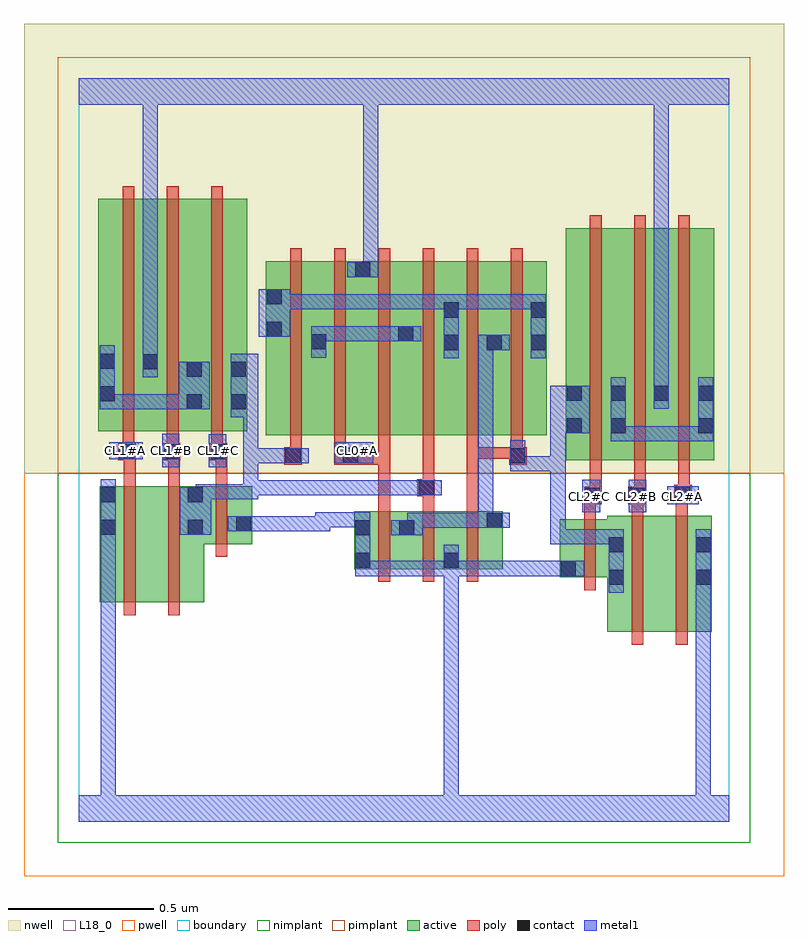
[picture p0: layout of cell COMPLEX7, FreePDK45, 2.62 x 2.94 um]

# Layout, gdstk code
import gdstk
lib = gdstk.Library(unit=1e-6, precision=1e-09)
def R(c, l, rs):  # rectangles x0, y0, x1, y1
    for r in rs: c.add(gdstk.rectangle(r[:2], r[2:], *l))
def A(c, l, x, y, w, h, nx, ny, dx, dy):  # array of equal rectangles
    R(c, l, [(x+i*dx, y+j*dy, x+i*dx+w, y+j*dy+h) for i in range(nx) for j in range(ny)])
active = (1, 0)
pwell = (2, 0)
nwell = (3, 0)
nimplant = (4, 0)
pimplant = (5, 0)
poly = (9, 0)
contact = (10, 0)
metal1 = (11, 0)
L18_0 = (18, 0)
boundary = (235, 0)

complex7 = lib.new_cell('COMPLEX7')
R(complex7, active, [(1.82,0.654,2,1.054), (2,0.654,2.18,1.054), (2.12,0.654,2.18,1.054), (0.072,0.756,0.132,1.156), (0.072,0.756,0.252,1.156), (0.252,0.756,0.432,1.156), (0.372,0.756,0.432,1.156), (1.82,0.806,1.88,0.984), (1.656,0.842,1.88,1.042), (1.656,0.842,1.716,1.042), (0.948,0.87,1.008,1.07), (0.948,0.87,1.16,1.07), (1.1,0.87,1.16,1.07), (1.1,0.87,1.312,1.07), (1.252,0.87,1.46,1.07), (1.252,0.87,1.312,0.93), (1.4,0.87,1.46,1.07), (0.372,0.956,0.598,1.156), (0.538,0.956,0.598,1.156), (1.676,1.244,1.736,2.044), (1.676,1.244,1.888,2.044), (1.828,1.244,2.036,2.044), (1.976,1.244,2.188,2.044), (2.128,1.244,2.188,2.044), (0.644,1.33,0.704,1.93), (0.644,1.33,0.856,1.93), (0.796,1.33,1.008,1.93), (0.796,1.33,0.856,1.844), (0.948,1.33,1.156,1.93), (1.096,1.33,1.156,1.844), (1.096,1.33,1.312,1.93), (1.252,1.33,1.312,1.93), (1.252,1.33,1.46,1.93), (1.4,1.33,1.612,1.93), (1.4,1.33,1.46,1.844), (1.552,1.33,1.612,1.93), (1.828,1.334,1.888,2.044), (1.976,1.334,2.036,2.044), (0.068,1.344,0.128,2.144), (0.068,1.344,0.276,2.144), (0.216,1.344,0.428,2.144), (0.368,1.344,0.58,2.144), (0.52,1.344,0.58,2.144), (0.368,1.41,0.428,2.144), (0.216,1.554,0.276,2.144), (0.948,1.608,1.008,1.93)])
R(complex7, pwell, [(-0.188,-0.188,2.428,1.2)])
R(complex7, nwell, [(-0.188,1.2,2.428,2.748)])
R(complex7, nimplant, [(-0.072,-0.072,2.312,1.2)])
R(complex7, pimplant, [(-0.072,1.2,2.312,2.632)])
A(complex7, poly, 1.032, 0.826, 0.04, 0.288, 3, 1, 0.152, 0)
A(complex7, poly, 1.76, 1.2, 0.04, 0.888, 3, 1, 0.152, 0)
A(complex7, poly, 0.152, 1.264, 0.04, 0.076, 3, 1, 0.152, 0)
A(complex7, poly, 0.728, 1.286, 0.04, 0.688, 6, 1, 0.152, 0)
A(complex7, poly, 0.152, 1.3, 0.04, 0.888, 3, 1, 0.152, 0)
R(complex7, poly, [(1.904,0.61,1.944,1.098), (2.056,0.61,2.096,1.098), (0.156,0.712,0.196,1.2), (0.308,0.712,0.348,1.2), (1.74,0.798,1.78,1.086), (0.472,0.912,0.512,1.2), (1.74,1.046,1.78,1.134), (1.904,1.058,1.944,1.134), (2.056,1.058,2.096,1.14), (1.032,1.074,1.072,1.27), (1.184,1.074,1.224,1.16), (1.336,1.074,1.376,1.29), (1.74,1.094,1.78,1.134), (1.74,1.094,1.78,1.134), (1.74,1.094,1.8,1.154), (1.892,1.094,1.952,1.154), (1.904,1.094,1.944,1.134), (1.904,1.094,1.944,1.134), (2.05,1.1,2.11,1.16), (1.76,1.114,1.8,1.24), (1.912,1.114,1.952,1.24), (1.166,1.12,1.226,1.18), (2.064,1.12,2.104,1.24), (2.064,1.12,2.104,1.16), (2.064,1.12,2.104,1.16), (1.184,1.14,1.224,1.18), (1.184,1.14,1.224,1.18), (1.184,1.14,1.224,1.326), (0.156,1.16,0.196,1.284), (0.308,1.16,0.348,1.284), (0.472,1.16,0.512,1.284), (0.708,1.23,0.768,1.29), (0.88,1.23,0.966,1.29), (0.926,1.23,0.966,1.27), (0.926,1.23,0.966,1.27), (0.926,1.23,1.072,1.27), (1.032,1.23,1.072,1.27), (1.032,1.23,1.072,1.27), (1.032,1.23,1.072,1.27), (1.032,1.23,1.072,1.326), (1.482,1.23,1.542,1.29), (0.136,1.244,0.196,1.304), (0.29,1.244,0.35,1.304), (0.452,1.244,0.512,1.304), (0.472,1.244,0.512,1.284), (0.472,1.244,0.512,1.284), (0.728,1.25,0.768,1.326), (0.88,1.25,0.92,1.326), (1.336,1.25,1.376,1.29), (1.336,1.25,1.376,1.29), (1.336,1.25,1.376,1.29), (1.336,1.25,1.376,1.29), (1.336,1.25,1.376,1.29), (1.336,1.25,1.376,1.326), (1.336,1.25,1.522,1.29), (1.488,1.25,1.528,1.326), (0.152,1.264,0.192,1.304), (0.152,1.264,0.192,1.304), (0.304,1.264,0.344,1.304), (0.304,1.264,0.344,1.304)])
R(complex7, contact, [(1.824,0.816,1.876,0.868), (2.124,0.816,2.176,0.868), (1.66,0.846,1.712,0.898), (0.952,0.874,1.004,0.926), (1.256,0.874,1.308,0.926), (1.824,0.928,1.876,0.98), (2.124,0.928,2.176,0.98), (0.952,0.986,1.004,1.038), (1.104,0.986,1.156,1.038), (0.076,0.988,0.128,1.04), (0.376,0.988,0.428,1.04), (0.542,1,0.594,1.052), (1.404,1.012,1.456,1.064), (1.744,1.098,1.796,1.15), (1.896,1.098,1.948,1.15), (0.076,1.1,0.128,1.152), (0.376,1.1,0.428,1.152), (2.054,1.104,2.106,1.156), (1.17,1.124,1.222,1.176), (0.712,1.234,0.764,1.286), (0.91,1.234,0.962,1.286), (1.486,1.234,1.538,1.286), (0.14,1.248,0.192,1.3), (0.294,1.248,0.346,1.3), (0.456,1.248,0.508,1.3), (1.68,1.338,1.732,1.39), (1.832,1.338,1.884,1.39), (2.132,1.338,2.184,1.39), (0.372,1.42,0.424,1.472), (0.524,1.42,0.576,1.472), (0.072,1.448,0.124,1.5), (1.68,1.45,1.732,1.502), (1.832,1.45,1.884,1.502), (1.98,1.45,2.032,1.502), (2.132,1.45,2.184,1.502), (0.372,1.532,0.424,1.584), (0.524,1.532,0.576,1.584), (0.22,1.558,0.272,1.61), (0.072,1.56,0.124,1.612), (1.256,1.624,1.308,1.676), (1.404,1.624,1.456,1.676), (1.556,1.624,1.608,1.676), (0.8,1.626,0.852,1.678), (1.1,1.654,1.152,1.706), (0.648,1.67,0.7,1.722), (1.256,1.736,1.308,1.788), (1.556,1.736,1.608,1.788), (0.648,1.782,0.7,1.834), (0.952,1.874,1.004,1.926)])
R(complex7, metal1, [(0,0,2.24,0.092), (0.076,0.04,0.128,0.092), (0.076,0.04,0.128,0.092), (0.076,0.04,0.128,0.092), (0.076,0.04,0.128,0.092), (0.076,0.04,0.128,0.092), (0.076,0.04,0.128,0.092), (0.076,0.04,0.128,1.012), (1.256,0.04,1.308,0.092), (1.256,0.04,1.308,0.092), (1.256,0.04,1.308,0.898), (2.124,0.04,2.176,0.84), (1.824,0.788,1.876,1.008), (2.124,0.788,2.176,0.84), (2.124,0.788,2.176,0.84), (2.124,0.788,2.176,0.84), (2.124,0.788,2.176,0.84), (2.124,0.788,2.176,0.84), (2.124,0.788,2.176,0.84), (2.124,0.788,2.176,0.84), (2.124,0.788,2.176,0.84), (2.124,0.788,2.176,0.84), (2.124,0.788,2.176,0.84), (2.124,0.788,2.176,0.84), (2.124,0.788,2.176,0.84), (2.124,0.788,2.176,1.008), (0.952,0.846,1.004,1.066), (0.952,0.846,1.006,0.898), (0.954,0.846,1.006,0.898), (0.954,0.846,1.116,0.898), (1.064,0.846,1.116,0.898), (1.064,0.846,1.308,0.898), (1.256,0.846,1.308,0.898), (1.256,0.846,1.308,0.898), (1.256,0.846,1.308,0.898), (1.256,0.846,1.308,0.898), (1.256,0.846,1.308,0.898), (1.256,0.846,1.308,0.898), (1.256,0.846,1.308,0.898), (1.256,0.846,1.308,0.898), (1.256,0.846,1.308,0.898), (1.256,0.846,1.308,0.898), (1.256,0.846,1.308,0.898), (1.256,0.846,1.308,0.898), (1.256,0.846,1.308,0.898), (1.256,0.846,1.308,0.898), (1.256,0.846,1.308,0.898), (1.256,0.846,1.308,0.898), (1.256,0.846,1.308,0.954), (1.256,0.846,1.428,0.898), (1.376,0.846,1.428,0.898), (1.376,0.846,1.428,0.898), (1.376,0.846,1.428,0.898), (1.376,0.846,1.538,0.898), (1.486,0.846,1.538,0.898), (1.486,0.846,1.538,0.898), (1.486,0.846,1.538,0.898), (1.486,0.846,1.684,0.898), (1.632,0.846,1.74,0.898), (1.624,0.956,1.676,1.008), (1.624,0.956,1.676,1.008), (1.624,0.956,1.676,1.008), (1.624,0.956,1.676,1.008), (1.624,0.956,1.676,1.008), (1.624,0.956,1.876,1.008), (1.624,0.956,1.676,1.258), (0.076,0.96,0.128,1.012), (0.076,0.96,0.128,1.012), (0.076,0.96,0.128,1.012), (0.076,0.96,0.128,1.012), (0.076,0.96,0.128,1.012), (0.076,0.96,0.128,1.012), (0.076,0.96,0.128,1.18), (1.076,0.986,1.184,1.038), (1.132,0.986,1.184,1.038), (1.132,0.986,1.184,1.064), (0.348,0.988,0.456,1.152), (0.514,1,0.622,1.052), (0.57,1,0.622,1.052), (0.57,1,0.622,1.052), (0.57,1,0.732,1.052), (0.68,1,0.732,1.052), (0.68,1,0.866,1.052), (0.814,1,0.866,1.066), (1.132,1.012,1.318,1.064), (1.266,1.012,1.318,1.064), (1.266,1.012,1.428,1.064), (1.376,1.012,1.428,1.064), (1.376,1.012,1.428,1.064), (1.376,1.012,1.484,1.064), (1.376,1.012,1.428,1.676), (0.814,1.014,0.866,1.066), (0.814,1.014,0.866,1.066), (0.814,1.014,1.004,1.066), (0.952,1.014,1.004,1.066), (0.952,1.014,1.004,1.066), (1.734,1.066,1.796,1.178), (1.894,1.066,1.954,1.178), (2.026,1.094,2.134,1.156), (0.404,1.1,0.456,1.162), (0.404,1.11,0.456,1.162), (0.404,1.11,0.456,1.162), (0.404,1.11,0.456,1.162), (0.404,1.11,0.618,1.162), (0.566,1.11,0.618,1.176), (0.566,1.124,0.732,1.176), (0.566,1.124,0.618,1.286), (0.68,1.124,0.732,1.176), (0.68,1.124,0.732,1.176), (0.68,1.124,0.732,1.176), (0.68,1.124,0.842,1.176), (0.79,1.124,0.842,1.176), (0.79,1.124,0.896,1.176), (0.844,1.124,0.896,1.176), (0.844,1.124,1.006,1.176), (0.954,1.124,1.006,1.176), (0.954,1.124,1.006,1.176), (0.954,1.124,1.006,1.176), (0.954,1.124,1.194,1.176), (1.142,1.124,1.194,1.176), (1.142,1.124,1.194,1.176), (1.142,1.124,1.25,1.176), (1.486,1.206,1.538,1.258), (1.486,1.206,1.538,1.258), (1.486,1.206,1.538,1.314), (1.486,1.206,1.676,1.258), (1.624,1.206,1.676,1.258), (1.624,1.206,1.676,1.39), (0.288,1.22,0.346,1.336), (0.448,1.22,0.508,1.334), (0.566,1.234,0.618,1.286), (0.566,1.234,0.618,1.286), (0.566,1.234,0.618,1.286), (0.566,1.234,0.736,1.286), (0.566,1.234,0.618,1.444), (0.684,1.234,0.792,1.286), (0.882,1.234,1.014,1.306), (0.106,1.248,0.22,1.306), (1.832,1.31,1.884,1.362), (1.832,1.31,1.884,1.362), (1.832,1.31,1.884,1.53), (1.832,1.31,1.994,1.362), (1.942,1.31,1.994,1.362), (1.942,1.31,2.184,1.362), (2.132,1.31,2.184,1.362), (2.132,1.31,2.184,1.362), (2.132,1.31,2.184,1.53), (1.624,1.338,1.76,1.502), (0.524,1.392,0.618,1.612), (0.072,1.42,0.124,1.472), (0.072,1.42,0.124,1.472), (0.072,1.42,0.124,1.64), (0.072,1.42,0.286,1.472), (0.234,1.42,0.286,1.472), (0.234,1.42,0.286,1.472), (0.234,1.42,0.286,1.472), (0.234,1.42,0.396,1.472), (0.344,1.42,0.452,1.584), (1.98,1.422,2.032,1.53), (1.98,1.478,2.032,2.52), (0.22,1.53,0.272,1.638), (0.22,1.586,0.272,2.52), (1.256,1.596,1.308,1.816), (1.556,1.596,1.608,1.816), (0.8,1.598,0.852,1.706), (1.376,1.624,1.428,1.676), (1.376,1.624,1.428,1.676), (1.376,1.624,1.428,1.676), (1.376,1.624,1.428,1.676), (1.376,1.624,1.484,1.676), (0.8,1.654,0.852,1.706), (0.8,1.654,0.852,1.706), (0.8,1.654,1.006,1.706), (0.954,1.654,1.006,1.706), (0.954,1.654,1.006,1.706), (0.954,1.654,1.006,1.706), (0.954,1.654,1.124,1.706), (1.072,1.654,1.18,1.706), (0.62,1.67,0.728,1.834), (0.676,1.764,0.732,1.816), (0.68,1.764,0.732,1.816), (0.68,1.764,0.866,1.816), (0.814,1.764,0.866,1.816), (0.814,1.764,0.866,1.816), (0.814,1.764,0.866,1.816), (0.814,1.764,1.006,1.816), (0.954,1.764,1.006,1.816), (0.954,1.764,1.006,1.816), (0.954,1.764,1.006,1.816), (0.954,1.764,1.116,1.816), (1.064,1.764,1.116,1.816), (1.064,1.764,1.308,1.816), (1.256,1.764,1.308,1.816), (1.256,1.764,1.308,1.816), (1.256,1.764,1.428,1.816), (1.376,1.764,1.428,1.816), (1.376,1.764,1.428,1.816), (1.376,1.764,1.428,1.816), (1.376,1.764,1.538,1.816), (1.486,1.764,1.538,1.816), (1.486,1.764,1.608,1.816), (0.924,1.874,1.032,1.926), (0.98,1.874,1.032,1.926), (0.98,1.874,1.032,1.926), (0.98,1.874,1.032,1.926), (0.98,1.874,1.032,1.926), (0.98,1.874,1.032,1.926), (0.98,1.874,1.032,1.926), (0.98,1.874,1.032,1.926), (0.98,1.874,1.032,1.926), (0.98,1.874,1.032,1.926), (0.98,1.874,1.032,1.926), (0.98,1.874,1.032,1.926), (0.98,1.874,1.032,1.926), (0.98,1.874,1.032,2.52), (0,2.468,2.24,2.56), (0.22,2.468,0.272,2.52), (0.22,2.468,0.272,2.52), (0.22,2.468,0.272,2.52), (0.22,2.468,0.272,2.52), (0.22,2.468,0.272,2.52), (0.22,2.468,0.272,2.52), (0.22,2.468,0.272,2.52), (0.22,2.468,0.272,2.52), (1.98,2.468,2.032,2.52), (1.98,2.468,2.032,2.52), (1.98,2.468,2.032,2.52), (1.98,2.468,2.032,2.52), (1.98,2.468,2.032,2.52), (1.98,2.468,2.032,2.52), (1.98,2.468,2.032,2.52), (1.98,2.468,2.032,2.52)])
A(complex7, L18_0, 1.734, 1.094, 0.052, 0.052, 3, 1, 0.16, 0)
A(complex7, L18_0, 0.134, 1.254, 0.052, 0.052, 3, 1, 0.16, 0)
R(complex7, L18_0, [(0,0,2.24,0.092), (0.076,0.04,0.128,0.092), (0.076,0.04,0.128,0.092), (0.076,0.04,0.128,0.092), (0.076,0.04,0.128,0.092), (0.076,0.04,0.128,0.092), (0.076,0.04,0.128,0.092), (0.076,0.04,0.128,1.012), (1.256,0.04,1.308,0.092), (1.256,0.04,1.308,0.092), (1.256,0.04,1.308,0.898), (2.124,0.04,2.176,0.84), (2.124,0.788,2.176,0.84), (2.124,0.788,2.176,0.84), (2.124,0.788,2.176,0.84), (2.124,0.788,2.176,0.84), (2.124,0.788,2.176,0.84), (2.124,0.788,2.176,0.84), (2.124,0.788,2.176,0.84), (2.124,0.788,2.176,0.84), (2.124,0.788,2.176,0.84), (2.124,0.788,2.176,0.84), (2.124,0.788,2.176,0.84), (2.124,0.788,2.176,0.84), (2.124,0.788,2.176,1.008), (0.952,0.846,1.004,1.066), (0.952,0.846,1.006,0.898), (0.954,0.846,1.006,0.898), (0.954,0.846,1.116,0.898), (1.064,0.846,1.116,0.898), (1.064,0.846,1.308,0.898), (1.256,0.846,1.308,0.898), (1.256,0.846,1.308,0.898), (1.256,0.846,1.308,0.898), (1.256,0.846,1.308,0.898), (1.256,0.846,1.308,0.898), (1.256,0.846,1.308,0.898), (1.256,0.846,1.308,0.898), (1.256,0.846,1.308,0.898), (1.256,0.846,1.308,0.898), (1.256,0.846,1.308,0.898), (1.256,0.846,1.308,0.898), (1.256,0.846,1.308,0.898), (1.256,0.846,1.308,0.898), (1.256,0.846,1.308,0.898), (1.256,0.846,1.308,0.898), (1.256,0.846,1.308,0.898), (1.256,0.846,1.308,0.954), (1.256,0.846,1.428,0.898), (1.376,0.846,1.428,0.898), (1.376,0.846,1.428,0.898), (1.376,0.846,1.428,0.898), (1.376,0.846,1.538,0.898), (1.486,0.846,1.538,0.898), (1.486,0.846,1.538,0.898), (1.486,0.846,1.538,0.898), (1.486,0.846,1.684,0.898), (1.632,0.846,1.74,0.898), (0.076,0.96,0.128,1.012), (0.076,0.96,0.128,1.012), (0.076,0.96,0.128,1.012), (0.076,0.96,0.128,1.012), (0.076,0.96,0.128,1.012), (0.076,0.96,0.128,1.012), (0.076,0.96,0.128,1.18), (0.514,1,0.622,1.052), (0.57,1,0.622,1.052), (0.57,1,0.622,1.052), (0.57,1,0.732,1.052), (0.68,1,0.732,1.052), (0.68,1,0.866,1.052), (0.814,1,0.866,1.066), (0.814,1.014,0.866,1.066), (0.814,1.014,0.866,1.066), (0.814,1.014,1.004,1.066), (0.952,1.014,1.004,1.066), (0.952,1.014,1.004,1.066), (1.734,1.066,1.796,1.178), (1.894,1.066,1.954,1.178), (2.026,1.094,2.134,1.156), (0.288,1.22,0.346,1.336), (0.448,1.22,0.508,1.334), (0.882,1.234,1.014,1.306), (0.106,1.248,0.22,1.306), (0.934,1.254,0.986,1.306), (1.98,1.422,2.032,1.53), (1.98,1.478,2.032,2.52), (0.22,1.53,0.272,1.638), (0.22,1.586,0.272,2.52), (0.924,1.874,1.032,1.926), (0.98,1.874,1.032,1.926), (0.98,1.874,1.032,1.926), (0.98,1.874,1.032,1.926), (0.98,1.874,1.032,1.926), (0.98,1.874,1.032,1.926), (0.98,1.874,1.032,1.926), (0.98,1.874,1.032,1.926), (0.98,1.874,1.032,1.926), (0.98,1.874,1.032,1.926), (0.98,1.874,1.032,1.926), (0.98,1.874,1.032,1.926), (0.98,1.874,1.032,1.926), (0.98,1.874,1.032,2.52), (0,2.468,2.24,2.56), (0.22,2.468,0.272,2.52), (0.22,2.468,0.272,2.52), (0.22,2.468,0.272,2.52), (0.22,2.468,0.272,2.52), (0.22,2.468,0.272,2.52), (0.22,2.468,0.272,2.52), (0.22,2.468,0.272,2.52), (0.22,2.468,0.272,2.52), (1.98,2.468,2.032,2.52), (1.98,2.468,2.032,2.52), (1.98,2.468,2.032,2.52), (1.98,2.468,2.032,2.52), (1.98,2.468,2.032,2.52), (1.98,2.468,2.032,2.52), (1.98,2.468,2.032,2.52), (1.98,2.468,2.032,2.52)])
R(complex7, boundary, [(0,0,2.24,2.56)])
complex7.add(gdstk.Label('CL0#A', (0.96,1.28), layer=11, texttype=0))
complex7.add(gdstk.Label('CL1#A', (0.16,1.28), layer=11, texttype=0))
complex7.add(gdstk.Label('CL1#B', (0.32,1.28), layer=11, texttype=0))
complex7.add(gdstk.Label('CL1#C', (0.48,1.28), layer=11, texttype=0))
complex7.add(gdstk.Label('CL2#A', (2.08,1.12), layer=11, texttype=0))
complex7.add(gdstk.Label('CL2#B', (1.92,1.12), layer=11, texttype=0))
complex7.add(gdstk.Label('CL2#C', (1.76,1.12), layer=11, texttype=0))

lib.write_gds('COMPLEX7.gds')
